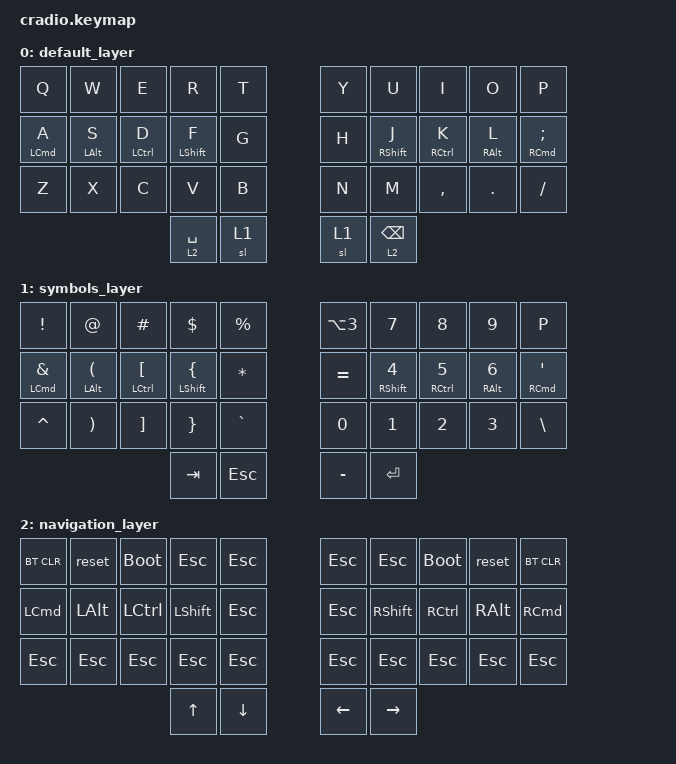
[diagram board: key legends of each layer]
/*
 * Copyright (c) 2020 The ZMK Contributors
 *
 * SPDX-License-Identifier: MIT
 */

#include <behaviors.dtsi>
#include <dt-bindings/zmk/keys.h>
#include <dt-bindings/zmk/bt.h>

&mt {
    flavor = "balanced";
    tapping_term_ms = <200>;
};

&sl {
    release-after-ms = <2000>;
};

/ {
  keymap {
    compatible = "zmk,keymap";

    default_layer {
      bindings = <
        &kp Q          &kp W          &kp E          &kp R          &kp T                 &kp Y          &kp U          &kp I          &kp O          &kp P 
        &mt LCMD A     &mt LALT S     &mt LCTRL D    &mt LSHFT F    &kp G                 &kp H          &mt RSHFT J    &mt RCTRL K    &mt RALT L     &mt RCMD SCLN
        &kp Z          &kp X          &kp C          &kp V          &kp B                 &kp N          &kp M          &kp CMMA       &kp DOT        &kp SLASH
                                                     &lt 2 SPACE    &sl 1                 &sl 1          &lt 2 BSPC
      >;
    };

    symbols_layer {
      bindings = <
        &kp EXCL       &kp AT         &kp HASH       &kp DLLR        &kp PRCNT            &kp LA(N3)     &kp N7          &kp N8          &kp N9          &kp P 
        &mt LCMD AMPS  &mt LALT LPAR  &mt LCTRL LBKT &mt LSHFT LBRC  &kp STAR             &kp EQUAL      &mt RSHFT N4    &mt RCTRL N5    &mt RALT N6     &mt RCMD APOS
        &kp CARET      &kp RPAR       &kp RBKT       &kp RBRC        &kp GRAVE            &kp N0         &kp N1          &kp N2          &kp N3          &kp BACKSLASH
                                                     &kp TAB         &kp ESCAPE           &kp MINUS      &kp ENTER
      >;
    };

    navigation_layer {
      bindings = <
        &bt BT_CLR     &reset         &bootloader    &kp ESCAPE      &kp ESCAPE           &kp ESCAPE     &kp ESCAPE      &bootloader     &reset          &bt BT_CLR
        &kp LCMD       &kp LALT       &kp LCTRL      &kp LSHFT       &kp ESCAPE           &kp ESCAPE     &kp RSHFT       &kp RCTRL       &kp RALT        &kp RCMD
        &kp ESCAPE     &kp ESCAPE     &kp ESCAPE     &kp ESCAPE      &kp ESCAPE           &kp ESCAPE     &kp ESCAPE      &kp ESCAPE      &kp ESCAPE      &kp ESCAPE
                                                     &kp UP          &kp DOWN             &kp LEFT       &kp RIGHT
      >;
    };
  };
};
